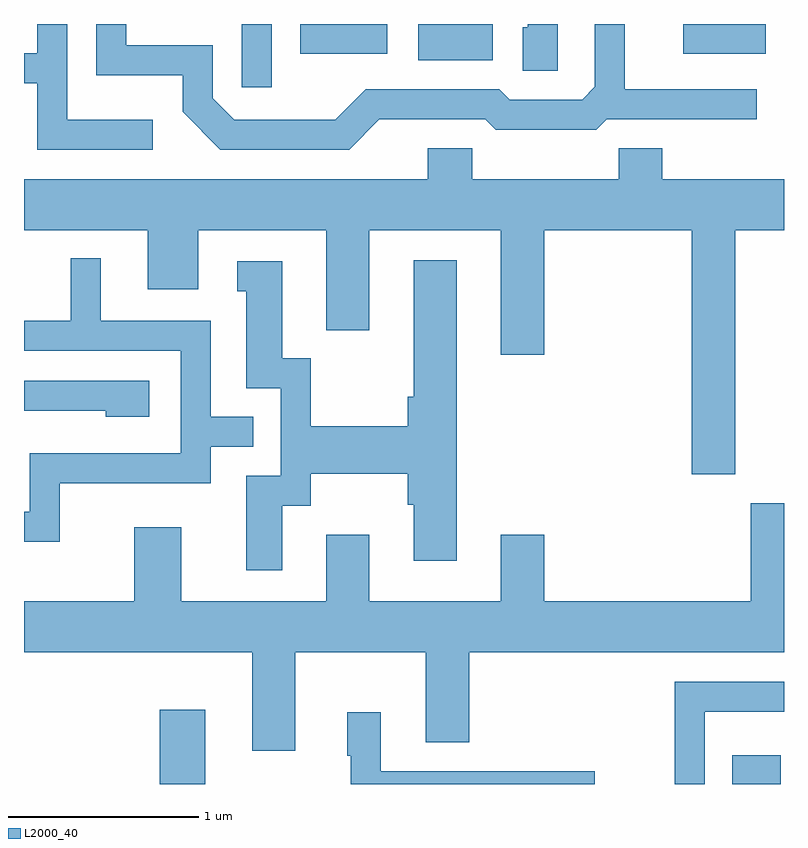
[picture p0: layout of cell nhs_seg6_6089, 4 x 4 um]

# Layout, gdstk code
import gdstk
lib = gdstk.Library(unit=1e-6, precision=1e-09)
def R(c, l, rs):  # rectangles x0, y0, x1, y1
    for r in rs: c.add(gdstk.rectangle(r[:2], r[2:], *l))
def P(c, l, *ps):  # polygons
    for p in ps: c.add(gdstk.Polygon(p, *l))
L2000_40 = (2000, 40)

nhs_seg6_6089 = lib.new_cell('nhs_seg6_6089')
R(nhs_seg6_6089, L2000_40, [(370.326,1618.162,370.564,1618.554), (373.338,1618.162,373.594,1618.314), (370.756,1621.828,370.914,1622.162), (371.686,1621.971,372.079,1622.162), (371.066,1622.006,371.524,1622.162), (373.081,1622.006,373.514,1622.162)])
P(nhs_seg6_6089, L2000_40, [(372.419,1622.162),(372.261,1622.162),(372.261,1622.144),(372.236,1622.144),(372.236,1621.916),(372.419,1621.916)],
  [(371.482,1621.661),(372.039,1621.661),(372.094,1621.606),(372.622,1621.606),(372.677,1621.661),(373.468,1621.661),(373.468,1621.819),(372.774,1621.819),(372.774,1622.162),(372.616,1622.162),(372.616,1621.832),(372.549,1621.764),(372.167,1621.764),(372.112,1621.819),(371.409,1621.819),(371.249,1621.659),(370.717,1621.659),(370.604,1621.772),(370.604,1622.049),(370.149,1622.049),(370.149,1622.162),(369.991,1622.162),(369.991,1621.891),(370.446,1621.891),(370.446,1621.699),(370.644,1621.501),(371.322,1621.501)],
  [(370.288,1621.659),(369.839,1621.659),(369.839,1622.162),(369.681,1622.162),(369.681,1622.009),(369.611,1622.009),(369.611,1621.851),(369.681,1621.851),(369.681,1621.501),(370.288,1621.501)],
  [(373.354,1621.076),(373.611,1621.076),(373.611,1621.344),(372.969,1621.344),(372.969,1621.509),(372.741,1621.509),(372.741,1621.344),(371.969,1621.344),(371.969,1621.509),(371.736,1621.509),(371.736,1621.344),(369.611,1621.344),(369.611,1621.076),(370.261,1621.076),(370.261,1620.766),(370.529,1620.766),(370.529,1621.076),(371.201,1621.076),(371.201,1620.551),(371.429,1620.551),(371.429,1621.076),(372.121,1621.076),(372.121,1620.421),(372.349,1620.421),(372.349,1621.076),(373.126,1621.076),(373.126,1619.791),(373.354,1619.791)],
  [(369.799,1619.746),(370.594,1619.746),(370.594,1619.936),(370.818,1619.936),(370.818,1620.094),(370.594,1620.094),(370.594,1620.599),(370.014,1620.599),(370.014,1620.928),(369.856,1620.928),(369.856,1620.599),(369.611,1620.599),(369.611,1620.441),(370.436,1620.441),(370.436,1619.904),(369.641,1619.904),(369.641,1619.594),(369.611,1619.594),(369.611,1619.436),(369.799,1619.436)],
  [(370.969,1619.626),(371.119,1619.626),(371.119,1619.796),(371.631,1619.796),(371.631,1619.631),(371.661,1619.631),(371.661,1619.336),(371.889,1619.336),(371.889,1620.919),(371.661,1620.919),(371.661,1620.199),(371.631,1620.199),(371.631,1620.044),(371.119,1620.044),(371.119,1620.404),(370.969,1620.404),(370.969,1620.914),(370.733,1620.914),(370.733,1620.756),(370.781,1620.756),(370.781,1620.246),(370.961,1620.246),(370.961,1619.784),(370.781,1619.784),(370.781,1619.286),(370.969,1619.286)],
  [(370.269,1620.284),(369.611,1620.284),(369.611,1620.126),(370.041,1620.126),(370.041,1620.096),(370.269,1620.096)],
  [(371.039,1618.856),(371.726,1618.856),(371.726,1618.381),(371.954,1618.381),(371.954,1618.856),(373.611,1618.856),(373.611,1619.639),(373.436,1619.639),(373.436,1619.124),(372.349,1619.124),(372.349,1619.474),(372.121,1619.474),(372.121,1619.124),(371.429,1619.124),(371.429,1619.474),(371.201,1619.474),(371.201,1619.124),(370.439,1619.124),(370.439,1619.514),(370.191,1619.514),(370.191,1619.124),(369.611,1619.124),(369.611,1618.856),(370.811,1618.856),(370.811,1618.336),(371.039,1618.336)],
  [(373.194,1618.541),(373.611,1618.541),(373.611,1618.699),(373.036,1618.699),(373.036,1618.162),(373.194,1618.162)],
  [(372.614,1618.229),(371.489,1618.229),(371.489,1618.539),(371.311,1618.539),(371.311,1618.311),(371.331,1618.311),(371.331,1618.162),(372.614,1618.162)])

lib.write_gds('nhs_seg6_6089.gds')
